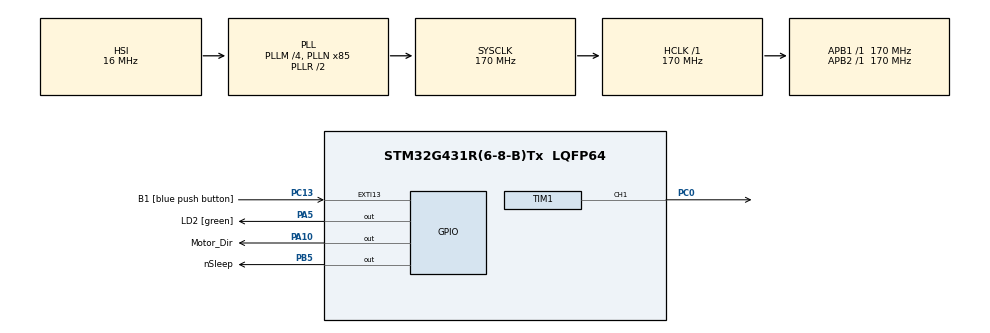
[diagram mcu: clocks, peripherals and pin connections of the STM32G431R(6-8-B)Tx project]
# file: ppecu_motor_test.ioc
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Mcu.Family=STM32G4
Mcu.Name=STM32G431R(6-8-B)Tx
Mcu.Package=LQFP64
NVIC.PriorityGroup=NVIC_PRIORITYGROUP_4
PA10.GPIO_Label=Motor_Dir
PA10.Signal=GPIO_Output
PA13.GPIO_Label=T_SWDIO
PA13.Signal=SYS_JTMS-SWDIO
PA14.GPIO_Label=T_SWCLK
PA14.Signal=SYS_JTCK-SWCLK
PA2.GPIO_Label=LPUART1_TX [STLINKV3E_VCP_RX]
PA2.Signal=LPUART1_TX
PA3.GPIO_Label=LPUART1_RX [STLINKV3E_VCP_TX]
PA3.Signal=LPUART1_RX
PA5.GPIO_Label=LD2 [green]
PA5.Signal=GPIO_Output
PB3.GPIO_Label=T_SWO
PB3.Signal=SYS_JTDO-SWO
PB5.GPIO_Label=nSleep
PB5.Signal=GPIO_Output
PC0.Signal=S_TIM1_CH1
PC13.GPIO_Label=B1 [blue push button]
PC13.Signal=GPXTI13
PC14-OSC32_IN.GPIO_Label=RCC_OSC32_OUT
PC14-OSC32_IN.Signal=RCC_OSC32_IN
PC15-OSC32_OUT.GPIO_Label=RCC_OSC32_OUT
PC15-OSC32_OUT.Signal=RCC_OSC32_OUT
PF0-OSC_IN.GPIO_Label=RCC_OSC_IN
PF0-OSC_IN.Signal=RCC_OSC_IN
PF1-OSC_OUT.GPIO_Label=RCC_OSC_OUT
PF1-OSC_OUT.Signal=RCC_OSC_OUT
ProjectManager.HeapSize=0x200
ProjectManager.StackSize=0x400
ProjectManager.TargetToolchain=STM32CubeIDE
RCC.ADC12Freq_Value=170000000
RCC.AHBFreq_Value=170000000
RCC.APB1Freq_Value=170000000
RCC.APB1TimFreq_Value=170000000
RCC.APB2Freq_Value=170000000
RCC.APB2TimFreq_Value=170000000
RCC.CortexFreq_Value=170000000
RCC.EXTERNAL_CLOCK_VALUE=12288000
RCC.HCLKFreq_Value=170000000
RCC.HSE_VALUE=24000000
RCC.HSI48_VALUE=48000000
RCC.HSI_VALUE=16000000
RCC.LSE_VALUE=32768
RCC.PLLM=RCC_PLLM_DIV4
RCC.PLLN=85
RCC.RTCClockSelection=RCC_RTCCLKSOURCE_LSE
RCC.SYSCLKFreq_VALUE=170000000
RCC.SYSCLKSource=RCC_SYSCLKSOURCE_PLLCLK
RCC.USBFreq_Value=170000000
RCC.VCOOutputFreq_Value=340000000
SH.S_TIM1_CH1.0=TIM1_CH1,PWM Generation1 CH1
TIM1.Channel-PWM\ Generation1\ CH1=TIM_CHANNEL_1
TIM1.PeriodNoDither=8499
TIM1.Prescaler=0
TIM1.PulseNoDither_1=8499/4
VP_SYS_VS_DBSignals.Mode=DisableDeadBatterySignals
VP_TIM1_VS_ClockSourceINT.Mode=Internal
board=NUCLEO-G431RB

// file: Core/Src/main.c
/* USER CODE BEGIN Header */
/**
  ******************************************************************************
  * @file           : main.c
  * @brief          : Main program body
  ******************************************************************************
  * @attention
  *
  * Copyright (c) 2025 STMicroelectronics.
  * All rights reserved.
  *
  * This software is licensed under terms that can be found in the LICENSE file
  * in the root directory of this software component.
  * If no LICENSE file comes with this software, it is provided AS-IS.
  *
  ******************************************************************************
  */
/* USER CODE END Header */
#include "main.h"

/* USER CODE BEGIN PD */
#define FOWARD 1
#define BACKWARD 0
/* USER CODE END PD */

TIM_HandleTypeDef htim1;

void SystemClock_Config(void);
static void MX_GPIO_Init(void);
static void MX_TIM1_Init(void);

/* USER CODE BEGIN 0 */

/**
  * @brief  Set motor speed and direction
  * @param  direction: FOWARD (1) or BACKWARD (0)
  * @param  speed: 0-100 percentage of full speed
  * @retval None
  */
void Motor_Control(uint8_t direction, float speed) {
    // Validate speed input
    if (speed < 0) speed = 0;
    if (speed > 100) speed = 100;

    // Set direction
    HAL_GPIO_WritePin(Motor_Dir_GPIO_Port, Motor_Dir_Pin, direction);

    // Calculate PWM pulse value
    uint32_t pulse = (uint32_t)(htim1.Init.Period * (speed / 100.0f));

    // Set PWM duty cycle
    __HAL_TIM_SET_COMPARE(&htim1, TIM_CHANNEL_1, pulse);

    // Wake up driver if sleeping
    if (HAL_GPIO_ReadPin(nSleep_GPIO_Port, nSleep_Pin) == GPIO_PIN_RESET) {
        HAL_GPIO_WritePin(nSleep_GPIO_Port, nSleep_Pin, GPIO_PIN_SET);
        HAL_Delay(2);
    }
}

/**
  * @brief  Stop motor (coast mode)
  * @retval None
  */
void Motor_Stop(void) {
    // Set 0% duty cycle
    __HAL_TIM_SET_COMPARE(&htim1, TIM_CHANNEL_1, 0);
}

/**
  * @brief  Brake motor (active braking)
  * @retval None
  */
void Motor_Brake(void) {
    HAL_GPIO_WritePin(Motor_Dir_GPIO_Port, Motor_Dir_Pin, GPIO_PIN_RESET);
    __HAL_TIM_SET_COMPARE(&htim1, TIM_CHANNEL_1, htim1.Init.Period); // 100% duty
}
/* USER CODE END 0 */

int main(void)
{

  /* MCU Configuration--------------------------------------------------------*/

  /* Reset of all peripherals, Initializes the Flash interface and the Systick. */
  HAL_Init();

  /* USER CODE BEGIN Init */
  HAL_GPIO_WritePin(nSleep_GPIO_Port, nSleep_Pin, GPIO_PIN_RESET);
  HAL_GPIO_WritePin(Motor_Dir_GPIO_Port, Motor_Dir_Pin, GPIO_PIN_RESET);
  /* USER CODE END Init */

  /* Configure the system clock */
  SystemClock_Config();

  /* Initialize all configured peripherals */
  MX_GPIO_Init();
  MX_TIM1_Init();
  /* USER CODE BEGIN 2 */
  HAL_TIM_PWM_Start(&htim1, TIM_CHANNEL_1);
  __HAL_TIM_SET_COMPARE(&htim1, TIM_CHANNEL_1, 0);

  HAL_GPIO_WritePin(nSleep_GPIO_Port, nSleep_Pin, GPIO_PIN_SET);
  /* USER CODE END 2 */

  /* Infinite loop */
  /* USER CODE BEGIN WHILE */
  while (1)
  {
	    // Forward at 50% speed
	    Motor_Control(FOWARD, 50.0f);
	    HAL_Delay(3000);

	    // Forward at 75% speed
	    Motor_Control(FOWARD, 75.0f);
	    HAL_Delay(3000);

	    // Stop (coast)
	    Motor_Stop();
	    HAL_Delay(3000);

	    // Reverse at 30% speed
	    Motor_Control(BACKWARD, 30.0f);
	    HAL_Delay(3000);

	    // Hard brake
	    Motor_Brake();
	    HAL_Delay(3000);

    /* USER CODE END WHILE */

  }
}

void SystemClock_Config(void)
{
  RCC_OscInitTypeDef RCC_OscInitStruct = {0};
  RCC_ClkInitTypeDef RCC_ClkInitStruct = {0};

  /** Configure the main internal regulator output voltage
  */
  HAL_PWREx_ControlVoltageScaling(PWR_REGULATOR_VOLTAGE_SCALE1_BOOST);

  /** Initializes the RCC Oscillators according to the specified parameters
  * in the RCC_OscInitTypeDef structure.
  */
  RCC_OscInitStruct.OscillatorType = RCC_OSCILLATORTYPE_HSI;
  RCC_OscInitStruct.HSIState = RCC_HSI_ON;
  RCC_OscInitStruct.HSICalibrationValue = RCC_HSICALIBRATION_DEFAULT;
  RCC_OscInitStruct.PLL.PLLState = RCC_PLL_ON;
  RCC_OscInitStruct.PLL.PLLSource = RCC_PLLSOURCE_HSI;
  RCC_OscInitStruct.PLL.PLLM = RCC_PLLM_DIV4;
  RCC_OscInitStruct.PLL.PLLN = 85;
  RCC_OscInitStruct.PLL.PLLP = RCC_PLLP_DIV2;
  RCC_OscInitStruct.PLL.PLLQ = RCC_PLLQ_DIV2;
  RCC_OscInitStruct.PLL.PLLR = RCC_PLLR_DIV2;
  if (HAL_RCC_OscConfig(&RCC_OscInitStruct) != HAL_OK)
  {
    Error_Handler();
  }

  /** Initializes the CPU, AHB and APB buses clocks
  */
  RCC_ClkInitStruct.ClockType = RCC_CLOCKTYPE_HCLK|RCC_CLOCKTYPE_SYSCLK
                              |RCC_CLOCKTYPE_PCLK1|RCC_CLOCKTYPE_PCLK2;
  RCC_ClkInitStruct.SYSCLKSource = RCC_SYSCLKSOURCE_PLLCLK;
  RCC_ClkInitStruct.AHBCLKDivider = RCC_SYSCLK_DIV1;
  RCC_ClkInitStruct.APB1CLKDivider = RCC_HCLK_DIV1;
  RCC_ClkInitStruct.APB2CLKDivider = RCC_HCLK_DIV1;

  if (HAL_RCC_ClockConfig(&RCC_ClkInitStruct, FLASH_LATENCY_4) != HAL_OK)
  {
    Error_Handler();
  }
}

static void MX_TIM1_Init(void)
{

  TIM_ClockConfigTypeDef sClockSourceConfig = {0};
  TIM_MasterConfigTypeDef sMasterConfig = {0};
  TIM_OC_InitTypeDef sConfigOC = {0};
  TIM_BreakDeadTimeConfigTypeDef sBreakDeadTimeConfig = {0};

  htim1.Instance = TIM1;
  htim1.Init.Prescaler = 0;
  htim1.Init.CounterMode = TIM_COUNTERMODE_UP;
  htim1.Init.Period = 8499;
  htim1.Init.ClockDivision = TIM_CLOCKDIVISION_DIV1;
  htim1.Init.RepetitionCounter = 0;
  htim1.Init.AutoReloadPreload = TIM_AUTORELOAD_PRELOAD_DISABLE;
  if (HAL_TIM_Base_Init(&htim1) != HAL_OK)
  {
    Error_Handler();
  }
  sClockSourceConfig.ClockSource = TIM_CLOCKSOURCE_INTERNAL;
  if (HAL_TIM_ConfigClockSource(&htim1, &sClockSourceConfig) != HAL_OK)
  {
    Error_Handler();
  }
  if (HAL_TIM_PWM_Init(&htim1) != HAL_OK)
  {
    Error_Handler();
  }
  sMasterConfig.MasterOutputTrigger = TIM_TRGO_RESET;
  sMasterConfig.MasterOutputTrigger2 = TIM_TRGO2_RESET;
  sMasterConfig.MasterSlaveMode = TIM_MASTERSLAVEMODE_DISABLE;
  if (HAL_TIMEx_MasterConfigSynchronization(&htim1, &sMasterConfig) != HAL_OK)
  {
    Error_Handler();
  }
  sConfigOC.OCMode = TIM_OCMODE_PWM1;
  sConfigOC.Pulse = 2124;
  sConfigOC.OCPolarity = TIM_OCPOLARITY_HIGH;
  sConfigOC.OCNPolarity = TIM_OCNPOLARITY_HIGH;
  sConfigOC.OCFastMode = TIM_OCFAST_DISABLE;
  sConfigOC.OCIdleState = TIM_OCIDLESTATE_RESET;
  sConfigOC.OCNIdleState = TIM_OCNIDLESTATE_RESET;
  if (HAL_TIM_PWM_ConfigChannel(&htim1, &sConfigOC, TIM_CHANNEL_1) != HAL_OK)
  {
    Error_Handler();
  }
  sBreakDeadTimeConfig.OffStateRunMode = TIM_OSSR_DISABLE;
  sBreakDeadTimeConfig.OffStateIDLEMode = TIM_OSSI_DISABLE;
  sBreakDeadTimeConfig.LockLevel = TIM_LOCKLEVEL_OFF;
  sBreakDeadTimeConfig.DeadTime = 0;
  sBreakDeadTimeConfig.BreakState = TIM_BREAK_DISABLE;
  sBreakDeadTimeConfig.BreakPolarity = TIM_BREAKPOLARITY_HIGH;
  sBreakDeadTimeConfig.BreakFilter = 0;
  sBreakDeadTimeConfig.BreakAFMode = TIM_BREAK_AFMODE_INPUT;
  sBreakDeadTimeConfig.Break2State = TIM_BREAK2_DISABLE;
  sBreakDeadTimeConfig.Break2Polarity = TIM_BREAK2POLARITY_HIGH;
  sBreakDeadTimeConfig.Break2Filter = 0;
  sBreakDeadTimeConfig.Break2AFMode = TIM_BREAK_AFMODE_INPUT;
  sBreakDeadTimeConfig.AutomaticOutput = TIM_AUTOMATICOUTPUT_DISABLE;
  if (HAL_TIMEx_ConfigBreakDeadTime(&htim1, &sBreakDeadTimeConfig) != HAL_OK)
  {
    Error_Handler();
  }
  HAL_TIM_MspPostInit(&htim1);

}

static void MX_GPIO_Init(void)
{
  GPIO_InitTypeDef GPIO_InitStruct = {0};

  /* GPIO Ports Clock Enable */
  __HAL_RCC_GPIOC_CLK_ENABLE();
  __HAL_RCC_GPIOF_CLK_ENABLE();
  __HAL_RCC_GPIOA_CLK_ENABLE();
  __HAL_RCC_GPIOB_CLK_ENABLE();

  /*Configure GPIO pin Output Level */
  HAL_GPIO_WritePin(GPIOA, LD2_Pin|Motor_Dir_Pin, GPIO_PIN_RESET);

  /*Configure GPIO pin Output Level */
  HAL_GPIO_WritePin(nSleep_GPIO_Port, nSleep_Pin, GPIO_PIN_RESET);

  /*Configure GPIO pin : B1_Pin */
  GPIO_InitStruct.Pin = B1_Pin;
  GPIO_InitStruct.Mode = GPIO_MODE_IT_RISING;
  GPIO_InitStruct.Pull = GPIO_NOPULL;
  HAL_GPIO_Init(B1_GPIO_Port, &GPIO_InitStruct);

  /*Configure GPIO pins : LPUART1_TX_Pin LPUART1_RX_Pin */
  GPIO_InitStruct.Pin = LPUART1_TX_Pin|LPUART1_RX_Pin;
  GPIO_InitStruct.Mode = GPIO_MODE_AF_PP;
  GPIO_InitStruct.Pull = GPIO_NOPULL;
  GPIO_InitStruct.Speed = GPIO_SPEED_FREQ_LOW;
  GPIO_InitStruct.Alternate = GPIO_AF12_LPUART1;
  HAL_GPIO_Init(GPIOA, &GPIO_InitStruct);

  /*Configure GPIO pins : LD2_Pin Motor_Dir_Pin */
  GPIO_InitStruct.Pin = LD2_Pin|Motor_Dir_Pin;
  GPIO_InitStruct.Mode = GPIO_MODE_OUTPUT_PP;
  GPIO_InitStruct.Pull = GPIO_NOPULL;
  GPIO_InitStruct.Speed = GPIO_SPEED_FREQ_LOW;
  HAL_GPIO_Init(GPIOA, &GPIO_InitStruct);

  /*Configure GPIO pin : nSleep_Pin */
  GPIO_InitStruct.Pin = nSleep_Pin;
  GPIO_InitStruct.Mode = GPIO_MODE_OUTPUT_PP;
  GPIO_InitStruct.Pull = GPIO_NOPULL;
  GPIO_InitStruct.Speed = GPIO_SPEED_FREQ_LOW;
  HAL_GPIO_Init(nSleep_GPIO_Port, &GPIO_InitStruct);

}

void Error_Handler(void)
{
  __disable_irq();
  while (1)
  {
  }
}
